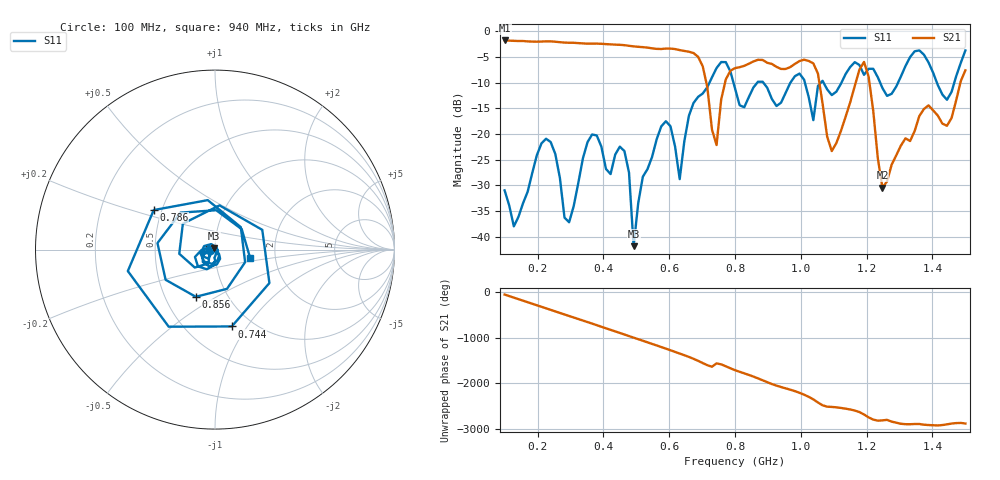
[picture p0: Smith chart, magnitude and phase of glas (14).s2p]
! NanoVNA-App
! Date: 2025-09-25 15:55:35
! Start: 100MHz Stop: 1,5GHz Points: 101
! S-Parameter data: F S11 S21 S12 S22
# Hz S RI R 50
!  Frequency  S11_Real  S11_Imag  S21_Real  S21_Imag  S12_Real  S12_Imag  S22_Real  S22_Imag
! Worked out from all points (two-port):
!   101 points, 100 MHz to 1.5 GHz, reference 50 ohm
!   highest |S21| = -1.80 dB at 100 MHz (marker M1); lowest = -30.4 dB at 1.248 GHz (marker M2)
!   |S21| within 3 dB of the highest: start of sweep to 684.4 MHz
!   lowest |S11| = -41.8 dB at 492 MHz (marker M3), VSWR 1.02, Z = 49.5 + j0.653 ohm
!   |S11| at or under -10 dB: start of sweep to 722.5 MHz; 795.3 MHz to 867.8 MHz (72.53 MHz wide, 8.72 % of centre); 886 MHz to 968.5 MHz (82.42 MHz wide, 8.89 % of centre) (the widest 3 of 7)
!   S12 and S22 are empty: the file has one direction only
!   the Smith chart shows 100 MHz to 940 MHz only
!   S11 on the Smith chart (normalised r, x): 100 MHz: 0.95, -0.01; 744 MHz: 0.80, -0.85; 786 MHz: 0.45, +0.24; 856 MHz: 0.71, -0.41; 940 MHz: 1.48, -0.15
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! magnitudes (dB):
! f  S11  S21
! 100 MHz  -31.0  -1.8
! 128 MHz  -38.0  -1.9
! 226 MHz  -20.9  -2.0
! 296 MHz  -37.2  -2.2
! 338 MHz  -24.7  -2.4
! 464 MHz  -23.3  -2.7
! 492 MHz  -41.8  -3.0
! 576 MHz  -18.5  -3.5
! 632 MHz  -28.8  -3.7
! 702 MHz  -12.1  -6.8
! 744 MHz  -7.2  -22.1
! 786 MHz  -7.8  -7.7
! 800 MHz  -11.1  -7.2
! 856 MHz  -10.9  -5.9
! 940 MHz  -13.9  -7.3
! 996 MHz  -8.3  -5.8
! 1.038 GHz  -17.3  -6.3
! 1.094 GHz  -12.4  -23.3
! 1.192 GHz  -8.5  -6.0
! 1.248 GHz  -11.1  -30.4
! 1.276 GHz  -12.2  -26.0
! 1.5 GHz  -3.7  -7.6
